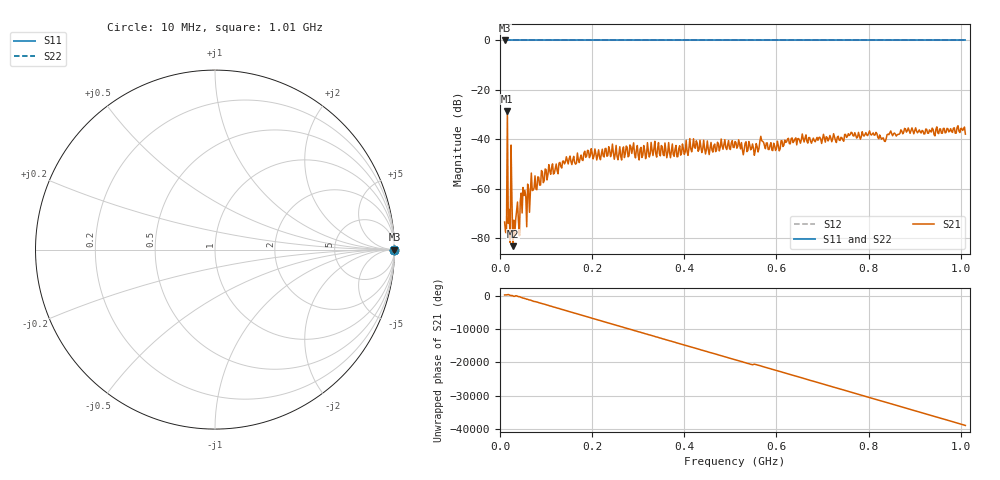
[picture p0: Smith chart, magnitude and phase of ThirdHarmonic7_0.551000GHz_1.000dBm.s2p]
! 8/17/2025 4:42:50 PM
! C:\ANRITSUVNA\TEMP\TEMP.S2P
! CHANNEL.1
! TR.MEASUREMENT
! RAW.DATA
! RF.CORRECTION.OFF
! AVERAGING.OFF
! IF.BANDWIDTH: 5KHZ
! SWEEPTYPE:  FREQ.SWEEP(Linear)
! Reference Plane Port Info
! PORT:  PORT1  PORT2
! DISTANCE:  0  m  0  m
! TIME:  0  s  0  s
! PHASE.OFFSET:  0  deg.  0  deg.
! LOSS:  0  dB  0  dB
! REF.LOSS:  0  dB  0  dB
! REF.FREQ:  0  Hz  0  Hz
! Power Info
! POWER:  -20  dBm  -20  dBm
! EFF.POWER:  -20  dBm  -20  dBm
! SOURCE.ATTEN:  0  dB  0  dB
! TEST.ATTEN:  0  dB  0  dB
# GHZ S RI R 50.0
! FREQ.GHZ  S11RE  S11IM  S21RE  S21IM  S12RE  S12IM  S22RE  S22IM
!; PortSelection: Port_12
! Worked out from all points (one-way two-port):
!   501 points, 10 MHz to 1.01 GHz, reference 50 ohm
!   highest |S21| = -28.48 dB at 16 MHz (marker M1); lowest = -83.1 dB at 28 MHz (marker M2)
!   lowest |S11| = 0.0 dB at 10 MHz (marker M3)
!   |S11| at or under -10 dB: nowhere
!   |S22| runs from 0.0 to 0.0 dB; largest |S21 - S12| = 1
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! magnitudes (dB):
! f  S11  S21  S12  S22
! 10 MHz  0.0  -73.4  0.0  0.0
! 12 MHz  0.0  -77.4  0.0  0.0
! 16 MHz  0.0  -28.5  0.0  0.0
! 18 MHz  0.0  -73.9  0.0  0.0
! 20 MHz  0.0  -68.3  0.0  0.0
! 22 MHz  0.0  -81.6  0.0  0.0
! 28 MHz  0.0  -83.1  0.0  0.0
! 30 MHz  0.0  -72.6  0.0  0.0
! 32 MHz  0.0  -78.8  0.0  0.0
! 44 MHz  0.0  -65.0  0.0  0.0
! 50 MHz  0.0  -59.4  0.0  0.0
! 62 MHz  0.0  -60.0  0.0  0.0
! 64 MHz  0.0  -69.4  0.0  0.0
! 72 MHz  0.0  -60.5  0.0  0.0
! 110 MHz  0.0  -54.1  0.0  0.0
! 178 MHz  0.0  -48.2  0.0  0.0
! 286 MHz  0.0  -45.7  0.0  0.0
! 344 MHz  0.0  -41.3  0.0  0.0
! 510 MHz  0.0  -40.9  0.0  0.0
! 678 MHz  0.0  -40.4  0.0  0.0
! 844 MHz  0.0  -38.1  0.0  0.0
! 1.01 GHz  0.0  -37.9  0.0  0.0
